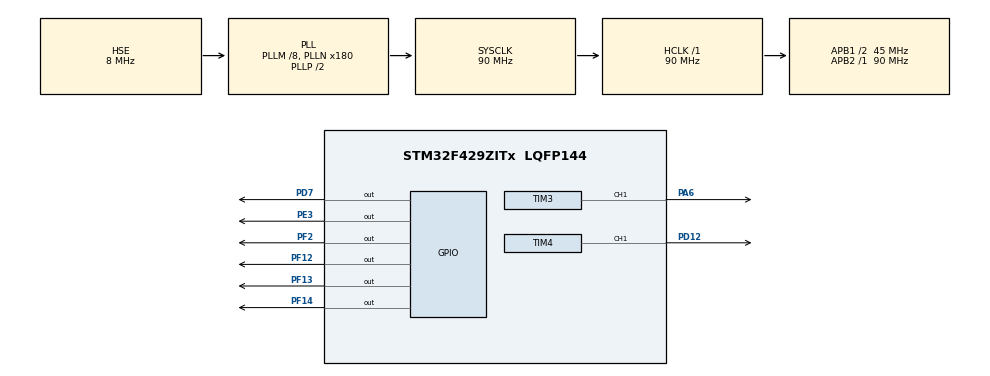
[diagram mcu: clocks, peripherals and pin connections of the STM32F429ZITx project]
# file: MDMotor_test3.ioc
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Mcu.Family=STM32F4
Mcu.Name=STM32F429ZITx
Mcu.Package=LQFP144
NVIC.PriorityGroup=NVIC_PRIORITYGROUP_4
NVIC.TIM4_IRQn=true\:0\:0\:false\:false\:true\:true\:true\:true
PA13.Mode=Serial_Wire
PA13.Signal=SYS_JTMS-SWDIO
PA14.Mode=Serial_Wire
PA14.Signal=SYS_JTCK-SWCLK
PA6.Signal=S_TIM3_CH1
PD12.Signal=S_TIM4_CH1
PD7.GPIO_ModeDefaultOutputPP=GPIO_MODE_OUTPUT_PP
PD7.GPIO_PuPd=GPIO_PULLUP
PD7.GPIO_Speed=GPIO_SPEED_FREQ_HIGH
PD7.PinState=GPIO_PIN_RESET
PD7.Signal=GPIO_Output
PE3.GPIO_ModeDefaultOutputPP=GPIO_MODE_OUTPUT_PP
PE3.GPIO_PuPd=GPIO_PULLUP
PE3.GPIO_Speed=GPIO_SPEED_FREQ_HIGH
PE3.PinState=GPIO_PIN_RESET
PE3.Signal=GPIO_Output
PF12.GPIO_ModeDefaultOutputPP=GPIO_MODE_OUTPUT_PP
PF12.GPIO_PuPd=GPIO_PULLUP
PF12.GPIO_Speed=GPIO_SPEED_FREQ_HIGH
PF12.PinState=GPIO_PIN_RESET
PF12.Signal=GPIO_Output
PF13.GPIO_ModeDefaultOutputPP=GPIO_MODE_OUTPUT_PP
PF13.GPIO_PuPd=GPIO_PULLUP
PF13.GPIO_Speed=GPIO_SPEED_FREQ_HIGH
PF13.PinState=GPIO_PIN_RESET
PF13.Signal=GPIO_Output
PF14.GPIO_ModeDefaultOutputPP=GPIO_MODE_OUTPUT_PP
PF14.GPIO_PuPd=GPIO_PULLUP
PF14.GPIO_Speed=GPIO_SPEED_FREQ_HIGH
PF14.PinState=GPIO_PIN_RESET
PF14.Signal=GPIO_Output
PF2.GPIO_ModeDefaultOutputPP=GPIO_MODE_OUTPUT_PP
PF2.GPIO_PuPd=GPIO_PULLUP
PF2.GPIO_Speed=GPIO_SPEED_FREQ_HIGH
PF2.PinState=GPIO_PIN_RESET
PF2.Signal=GPIO_Output
PH0/OSC_IN.Mode=HSE-External-Clock-Source
PH0/OSC_IN.Signal=RCC_OSC_IN
PH1/OSC_OUT.Mode=HSE-External-Clock-Source
PH1/OSC_OUT.Signal=RCC_OSC_OUT
ProjectManager.HeapSize=0x200
ProjectManager.StackSize=0x400
ProjectManager.TargetToolchain=STM32CubeIDE
RCC.48MHZClocksFreq_Value=45000000
RCC.AHBFreq_Value=90000000
RCC.APB1CLKDivider=RCC_HCLK_DIV2
RCC.APB1Freq_Value=45000000
RCC.APB1TimFreq_Value=90000000
RCC.APB2Freq_Value=90000000
RCC.APB2TimFreq_Value=90000000
RCC.CortexFreq_Value=90000000
RCC.HCLKFreq_Value=90000000
RCC.HSE_VALUE=8000000
RCC.HSI_VALUE=16000000
RCC.LSE_VALUE=32768
RCC.PLLM=8
RCC.PLLN=180
RCC.PLLSourceVirtual=RCC_PLLSOURCE_HSE
RCC.SYSCLKFreq_VALUE=90000000
RCC.SYSCLKSource=RCC_SYSCLKSOURCE_PLLCLK
RCC.VCOOutputFreq_Value=180000000
SH.S_TIM3_CH1.0=TIM3_CH1,PWM Generation1 CH1
SH.S_TIM4_CH1.0=TIM4_CH1,PWM Generation1 CH1
TIM3.Channel-PWM\ Generation1\ CH1=TIM_CHANNEL_1
TIM3.Period=99
TIM3.Prescaler=89
TIM3.Pulse-PWM\ Generation1\ CH1=49
TIM4.Channel-PWM\ Generation1\ CH1=TIM_CHANNEL_1
TIM4.Period=99
TIM4.Prescaler=89
TIM4.Pulse-PWM\ Generation1\ CH1=49
VP_TIM3_VS_ClockSourceINT.Mode=Internal
VP_TIM4_VS_ClockSourceINT.Mode=Internal
board=custom

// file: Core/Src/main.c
/* USER CODE BEGIN Header */
/**
  ******************************************************************************
  * @file           : main.c
  * @brief          : Main program body
  ******************************************************************************
  * @attention
  *
  * Copyright (c) 2024 STMicroelectronics.
  * All rights reserved.
  *
  * This software is licensed under terms that can be found in the LICENSE file
  * in the root directory of this software component.
  * If no LICENSE file comes with this software, it is provided AS-IS.
  *
  ******************************************************************************
  */
/* USER CODE END Header */
#include "main.h"

TIM_HandleTypeDef htim3;
TIM_HandleTypeDef htim4;

void SystemClock_Config(void);
static void MX_GPIO_Init(void);
static void MX_TIM3_Init(void);
static void MX_TIM4_Init(void);
/* USER CODE BEGIN PFP */

void LED_OnOff(int, int);

/* USER CODE END PFP */

int main(void)
{

  /* MCU Configuration--------------------------------------------------------*/

  /* Reset of all peripherals, Initializes the Flash interface and the Systick. */
  HAL_Init();

  /* Configure the system clock */
  SystemClock_Config();

  /* Initialize all configured peripherals */
  MX_GPIO_Init();
  MX_TIM3_Init();
  MX_TIM4_Init();
  /* USER CODE BEGIN 2 */

//  LED_OnOff(LED_ALL, 500);
  HAL_TIM_Base_Start_IT(&htim3);
  HAL_TIM_PWM_Start(&htim3, TIM_CHANNEL_1);
  HAL_TIM_Base_Start_IT(&htim4);
  HAL_TIM_PWM_Start(&htim4, TIM_CHANNEL_1);

  /*
  HAL_GPIO_WritePin(GPIOF, GPIO_PIN_12, RESET);	// Motor1 DIR - CCW
  HAL_GPIO_WritePin(GPIOF, GPIO_PIN_13, RESET);	// Motor1 RUN/BRK - RUN
  HAL_GPIO_WritePin(GPIOF, GPIO_PIN_14, RESET);	// Motor1 START/STOP - START

  HAL_GPIO_WritePin(GPIOF, GPIO_PIN_2, RESET);	// Motor2 DIR - CCW
  HAL_GPIO_WritePin(GPIOD, GPIO_PIN_7, RESET);	// Motor2 RUN/BRK - RUN
  HAL_GPIO_WritePin(GPIOE, GPIO_PIN_3, RESET);	// Motor2 START/STOP - START

*/
/* 초기?��?�� */
	  HAL_GPIO_WritePin(GPIOF, GPIO_PIN_12, SET);	// Motor1 DIR - CW
	  HAL_GPIO_WritePin(GPIOF, GPIO_PIN_13, SET);	// Motor1 RUN/BRK - BRK
	  HAL_GPIO_WritePin(GPIOF, GPIO_PIN_14, SET);	// Motor1 START/STOP - STOP

	  HAL_GPIO_WritePin(GPIOF, GPIO_PIN_2, SET);	// Motor2 DIR - CW
	  HAL_GPIO_WritePin(GPIOD, GPIO_PIN_7, SET);	// Motor2 RUN/BRK - BRK
	  HAL_GPIO_WritePin(GPIOE, GPIO_PIN_3, SET);	// Motor2 START/STOP - STOP

/* ??직임 ?��?��?�� 1 */
	  HAL_GPIO_WritePin(GPIOF, GPIO_PIN_13, RESET);	// Motor1 RUN/BRK - RUN
  	  HAL_GPIO_WritePin(GPIOF, GPIO_PIN_14, RESET);	// Motor1 START/STOP - START
  	  HAL_GPIO_WritePin(GPIOD, GPIO_PIN_7, RESET);	// Motor2 RUN/BRK - RUN
  	  HAL_GPIO_WritePin(GPIOE, GPIO_PIN_3, RESET);	// Motor2 START/STOP - START

  	  HAL_Delay(5000);

  	  HAL_GPIO_WritePin(GPIOF, GPIO_PIN_13, SET);	// Motor1 RUN/BRK - BRK
  	  HAL_GPIO_WritePin(GPIOD, GPIO_PIN_7, SET);	// Motor2 RUN/BRK - BRK

  	  HAL_Delay(5000);

  	  HAL_GPIO_WritePin(GPIOF, GPIO_PIN_13, RESET);	// Motor1 RUN/BRK - RUN
  	  HAL_GPIO_WritePin(GPIOD, GPIO_PIN_7, RESET);	// Motor2 RUN/BRK - RUN

  	  HAL_Delay(5000);

  	  HAL_GPIO_WritePin(GPIOF, GPIO_PIN_14, SET);	// Motor1 START/STOP - STOP
  	  HAL_GPIO_WritePin(GPIOE, GPIO_PIN_3, SET);	// Motor2 START/STOP - STOP

  	  HAL_Delay(5000);

 /* ??직임 ?��?��?�� 2 */
	  HAL_GPIO_WritePin(GPIOF, GPIO_PIN_12, RESET);	// Motor1 DIR - CCW
	  HAL_GPIO_WritePin(GPIOF, GPIO_PIN_2, RESET);	// Motor2 DIR - CCW
	  HAL_GPIO_WritePin(GPIOF, GPIO_PIN_13, RESET);	// Motor1 RUN/BRK - RUN
	  HAL_GPIO_WritePin(GPIOF, GPIO_PIN_14, RESET);	// Motor1 START/STOP - START
	  HAL_GPIO_WritePin(GPIOD, GPIO_PIN_7, RESET);	// Motor2 RUN/BRK - RUN
	  HAL_GPIO_WritePin(GPIOE, GPIO_PIN_3, RESET);	// Motor2 START/STOP - START

	  HAL_Delay(5000);

	  HAL_GPIO_WritePin(GPIOF, GPIO_PIN_13, SET);	// Motor1 RUN/BRK - BRK
	  HAL_GPIO_WritePin(GPIOD, GPIO_PIN_7, SET);	// Motor2 RUN/BRK - BRK

	  HAL_Delay(5000);

	  HAL_GPIO_WritePin(GPIOF, GPIO_PIN_13, RESET);	// Motor1 RUN/BRK - RUN
	  HAL_GPIO_WritePin(GPIOD, GPIO_PIN_7, RESET);	// Motor2 RUN/BRK - RUN

	  HAL_Delay(5000);

	  HAL_GPIO_WritePin(GPIOF, GPIO_PIN_14, SET);	// Motor1 START/STOP - STOP
	  HAL_GPIO_WritePin(GPIOE, GPIO_PIN_3, SET);	// Motor2 START/STOP - STOP

	  HAL_Delay(5000);

  /* USER CODE END 2 */

  /* Infinite loop */
  /* USER CODE BEGIN WHILE */
  while (1)
  {
	  /*
	  HAL_GPIO_WritePin(GPIOF, GPIO_PIN_13, RESET);	// Motor1 RUN/BRK - RUN
	  HAL_GPIO_WritePin(GPIOF, GPIO_PIN_14, RESET);	// Motor1 START/STOP - START
	  HAL_GPIO_WritePin(GPIOD, GPIO_PIN_7, RESET);	// Motor2 RUN/BRK - RUN
	  HAL_GPIO_WritePin(GPIOE, GPIO_PIN_3, RESET);	// Motor2 START/STOP - START

	  HAL_Delay(5000);

	  HAL_GPIO_WritePin(GPIOF, GPIO_PIN_13, SET);	// Motor1 RUN/BRK - BRK
	  HAL_GPIO_WritePin(GPIOD, GPIO_PIN_7, SET);	// Motor2 RUN/BRK - BRK

	  HAL_Delay(5000);

	  HAL_GPIO_WritePin(GPIOF, GPIO_PIN_13, RESET);	// Motor1 RUN/BRK - RUN
	  HAL_GPIO_WritePin(GPIOD, GPIO_PIN_7, RESET);	// Motor2 RUN/BRK - RUN

	  HAL_Delay(5000);

	  HAL_GPIO_WritePin(GPIOF, GPIO_PIN_14, SET);	// Motor1 START/STOP - STOP
	  HAL_GPIO_WritePin(GPIOE, GPIO_PIN_3, SET);	// Motor2 START/STOP - STOP

	  HAL_Delay(5000);

	*/

    /* USER CODE END WHILE */

  }
}

void SystemClock_Config(void)
{
  RCC_OscInitTypeDef RCC_OscInitStruct = {0};
  RCC_ClkInitTypeDef RCC_ClkInitStruct = {0};

  /** Configure the main internal regulator output voltage
  */
  __HAL_RCC_PWR_CLK_ENABLE();
  __HAL_PWR_VOLTAGESCALING_CONFIG(PWR_REGULATOR_VOLTAGE_SCALE3);

  /** Initializes the RCC Oscillators according to the specified parameters
  * in the RCC_OscInitTypeDef structure.
  */
  RCC_OscInitStruct.OscillatorType = RCC_OSCILLATORTYPE_HSE;
  RCC_OscInitStruct.HSEState = RCC_HSE_BYPASS;
  RCC_OscInitStruct.PLL.PLLState = RCC_PLL_ON;
  RCC_OscInitStruct.PLL.PLLSource = RCC_PLLSOURCE_HSE;
  RCC_OscInitStruct.PLL.PLLM = 8;
  RCC_OscInitStruct.PLL.PLLN = 180;
  RCC_OscInitStruct.PLL.PLLP = RCC_PLLP_DIV2;
  RCC_OscInitStruct.PLL.PLLQ = 4;
  if (HAL_RCC_OscConfig(&RCC_OscInitStruct) != HAL_OK)
  {
    Error_Handler();
  }

  /** Activate the Over-Drive mode
  */
  if (HAL_PWREx_EnableOverDrive() != HAL_OK)
  {
    Error_Handler();
  }

  /** Initializes the CPU, AHB and APB buses clocks
  */
  RCC_ClkInitStruct.ClockType = RCC_CLOCKTYPE_HCLK|RCC_CLOCKTYPE_SYSCLK
                              |RCC_CLOCKTYPE_PCLK1|RCC_CLOCKTYPE_PCLK2;
  RCC_ClkInitStruct.SYSCLKSource = RCC_SYSCLKSOURCE_PLLCLK;
  RCC_ClkInitStruct.AHBCLKDivider = RCC_SYSCLK_DIV1;
  RCC_ClkInitStruct.APB1CLKDivider = RCC_HCLK_DIV2;
  RCC_ClkInitStruct.APB2CLKDivider = RCC_HCLK_DIV1;

  if (HAL_RCC_ClockConfig(&RCC_ClkInitStruct, FLASH_LATENCY_2) != HAL_OK)
  {
    Error_Handler();
  }
}

static void MX_TIM3_Init(void)
{

  TIM_ClockConfigTypeDef sClockSourceConfig = {0};
  TIM_MasterConfigTypeDef sMasterConfig = {0};
  TIM_OC_InitTypeDef sConfigOC = {0};

  htim3.Instance = TIM3;
  htim3.Init.Prescaler = 89;
  htim3.Init.CounterMode = TIM_COUNTERMODE_UP;
  htim3.Init.Period = 99;
  htim3.Init.ClockDivision = TIM_CLOCKDIVISION_DIV1;
  htim3.Init.AutoReloadPreload = TIM_AUTORELOAD_PRELOAD_DISABLE;
  if (HAL_TIM_Base_Init(&htim3) != HAL_OK)
  {
    Error_Handler();
  }
  sClockSourceConfig.ClockSource = TIM_CLOCKSOURCE_INTERNAL;
  if (HAL_TIM_ConfigClockSource(&htim3, &sClockSourceConfig) != HAL_OK)
  {
    Error_Handler();
  }
  if (HAL_TIM_PWM_Init(&htim3) != HAL_OK)
  {
    Error_Handler();
  }
  sMasterConfig.MasterOutputTrigger = TIM_TRGO_RESET;
  sMasterConfig.MasterSlaveMode = TIM_MASTERSLAVEMODE_DISABLE;
  if (HAL_TIMEx_MasterConfigSynchronization(&htim3, &sMasterConfig) != HAL_OK)
  {
    Error_Handler();
  }
  sConfigOC.OCMode = TIM_OCMODE_PWM1;
  sConfigOC.Pulse = 49;
  sConfigOC.OCPolarity = TIM_OCPOLARITY_HIGH;
  sConfigOC.OCFastMode = TIM_OCFAST_DISABLE;
  if (HAL_TIM_PWM_ConfigChannel(&htim3, &sConfigOC, TIM_CHANNEL_1) != HAL_OK)
  {
    Error_Handler();
  }
  HAL_TIM_MspPostInit(&htim3);

}

static void MX_TIM4_Init(void)
{

  TIM_ClockConfigTypeDef sClockSourceConfig = {0};
  TIM_MasterConfigTypeDef sMasterConfig = {0};
  TIM_OC_InitTypeDef sConfigOC = {0};

  htim4.Instance = TIM4;
  htim4.Init.Prescaler = 89;
  htim4.Init.CounterMode = TIM_COUNTERMODE_UP;
  htim4.Init.Period = 99;
  htim4.Init.ClockDivision = TIM_CLOCKDIVISION_DIV1;
  htim4.Init.AutoReloadPreload = TIM_AUTORELOAD_PRELOAD_DISABLE;
  if (HAL_TIM_Base_Init(&htim4) != HAL_OK)
  {
    Error_Handler();
  }
  sClockSourceConfig.ClockSource = TIM_CLOCKSOURCE_INTERNAL;
  if (HAL_TIM_ConfigClockSource(&htim4, &sClockSourceConfig) != HAL_OK)
  {
    Error_Handler();
  }
  if (HAL_TIM_PWM_Init(&htim4) != HAL_OK)
  {
    Error_Handler();
  }
  sMasterConfig.MasterOutputTrigger = TIM_TRGO_RESET;
  sMasterConfig.MasterSlaveMode = TIM_MASTERSLAVEMODE_DISABLE;
  if (HAL_TIMEx_MasterConfigSynchronization(&htim4, &sMasterConfig) != HAL_OK)
  {
    Error_Handler();
  }
  sConfigOC.OCMode = TIM_OCMODE_PWM1;
  sConfigOC.Pulse = 49;
  sConfigOC.OCPolarity = TIM_OCPOLARITY_HIGH;
  sConfigOC.OCFastMode = TIM_OCFAST_DISABLE;
  if (HAL_TIM_PWM_ConfigChannel(&htim4, &sConfigOC, TIM_CHANNEL_1) != HAL_OK)
  {
    Error_Handler();
  }
  HAL_TIM_MspPostInit(&htim4);

}

static void MX_GPIO_Init(void)
{
  GPIO_InitTypeDef GPIO_InitStruct = {0};

  /* GPIO Ports Clock Enable */
  __HAL_RCC_GPIOE_CLK_ENABLE();
  __HAL_RCC_GPIOF_CLK_ENABLE();
  __HAL_RCC_GPIOH_CLK_ENABLE();
  __HAL_RCC_GPIOA_CLK_ENABLE();
  __HAL_RCC_GPIOD_CLK_ENABLE();

  /*Configure GPIO pin Output Level */
  HAL_GPIO_WritePin(GPIOE, GPIO_PIN_3, GPIO_PIN_RESET);

  /*Configure GPIO pin Output Level */
  HAL_GPIO_WritePin(GPIOF, GPIO_PIN_2|GPIO_PIN_12|GPIO_PIN_13|GPIO_PIN_14, GPIO_PIN_RESET);

  /*Configure GPIO pin Output Level */
  HAL_GPIO_WritePin(GPIOD, GPIO_PIN_7, GPIO_PIN_RESET);

  /*Configure GPIO pin : PE3 */
  GPIO_InitStruct.Pin = GPIO_PIN_3;
  GPIO_InitStruct.Mode = GPIO_MODE_OUTPUT_PP;
  GPIO_InitStruct.Pull = GPIO_PULLUP;
  GPIO_InitStruct.Speed = GPIO_SPEED_FREQ_HIGH;
  HAL_GPIO_Init(GPIOE, &GPIO_InitStruct);

  /*Configure GPIO pins : PF2 PF12 PF13 PF14 */
  GPIO_InitStruct.Pin = GPIO_PIN_2|GPIO_PIN_12|GPIO_PIN_13|GPIO_PIN_14;
  GPIO_InitStruct.Mode = GPIO_MODE_OUTPUT_PP;
  GPIO_InitStruct.Pull = GPIO_PULLUP;
  GPIO_InitStruct.Speed = GPIO_SPEED_FREQ_HIGH;
  HAL_GPIO_Init(GPIOF, &GPIO_InitStruct);

  /*Configure GPIO pin : PD7 */
  GPIO_InitStruct.Pin = GPIO_PIN_7;
  GPIO_InitStruct.Mode = GPIO_MODE_OUTPUT_PP;
  GPIO_InitStruct.Pull = GPIO_PULLUP;
  GPIO_InitStruct.Speed = GPIO_SPEED_FREQ_HIGH;
  HAL_GPIO_Init(GPIOD, &GPIO_InitStruct);

}

/* USER CODE BEGIN 4 */
/*
void LED_OnOff(int led, int interval)
{
	HAL_GPIO_WritePin(GPIO_LED, led, GPIO_PIN_SET );
	HAL_GPIO_WritePin(GPIO_LED_Nucleo, led, GPIO_PIN_SET );
	HAL_Delay(interval);
	HAL_GPIO_WritePin(GPIO_LED, led, GPIO_PIN_RESET );
	HAL_GPIO_WritePin(GPIO_LED_Nucleo, led, GPIO_PIN_RESET );
}*/
/*
void HAL_TIM_PeriodElapsedCallback(TIM_HandleTypeDef *htim)
{
	HAL_GPIO_TogglePin(GPIO_LED, LED_ALL);
}
*/
/* USER CODE END 4 */

void Error_Handler(void)
{
  __disable_irq();
  while (1)
  {
  }
}
